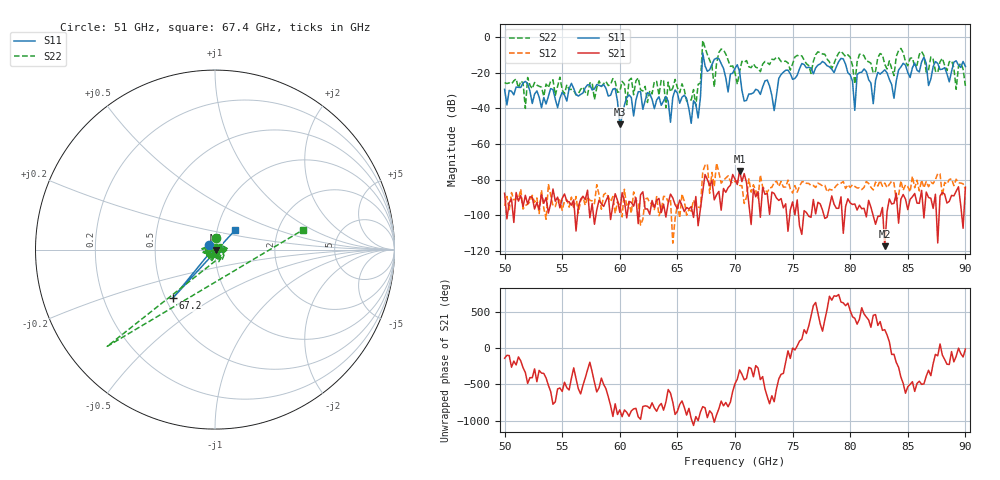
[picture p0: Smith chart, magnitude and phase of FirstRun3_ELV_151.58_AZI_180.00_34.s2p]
! 11/24/2026 3:42:01 PM
! C:\ANRITSUVNA\TEMP\TEMP.S2P
! CHANNEL.1
! TR.MEASUREMENT
! RAW.DATA
# HZ S RI R 50.0
! FREQ.HZ  S11RE  S11IM  S21RE  S21IM  S12RE  S12IM  S22RE  S22IM
!; PortSelection: Port_12
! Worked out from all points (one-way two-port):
!   201 points, 50 GHz to 90 GHz, reference 50 ohm
!   highest |S21| = -75.05 dB at 70.4 GHz (marker M1); lowest = -117.3 dB at 83 GHz (marker M2)
!   lowest |S11| = -49.0 dB at 60 GHz (marker M3), VSWR 1.01, Z = 50.3 - j0.162 ohm
!   |S11| at or under -10 dB: start of sweep to 67.19 GHz; 67.23 GHz to end of sweep
!   |S22| runs from -40.0 to -1.9 dB; largest |S21 - S12| = 0.00032
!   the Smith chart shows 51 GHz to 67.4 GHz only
!   S11 on the Smith chart (normalised r, x): 51 GHz: 0.94, +0.05; 67.2 GHz: 0.54, -0.34; 67.4 GHz: 1.22, +0.27
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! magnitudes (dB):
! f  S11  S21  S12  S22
! 50 GHz  -29.3  -87.6  -94.7  -25.6
! 51 GHz  -28.0  -87.2  -90.9  -23.4
! 56.8 GHz  -31.4  -89.3  -89.8  -28.1
! 59.6 GHz  -28.8  -87.9  -98.9  -25.0
! 60 GHz  -49.0  -98.3  -94.3  -30.6
! 63.4 GHz  -33.4  -90.5  -100.2  -32.6
! 66.8 GHz  -45.4  -105.9  -95.4  -26.5
! 67.2 GHz  -8.9  -86.9  -75.5  -1.9
! 67.4 GHz  -16.1  -77.1  -71.9  -5.9
! 68.2 GHz  -12.5  -91.3  -83.8  -28.0
! 68.8 GHz  -14.8  -97.1  -82.0  -6.7
! 70 GHz  -17.4  -79.7  -81.0  -19.9
! 70.4 GHz  -19.5  -75.1  -83.2  -19.3
! 73.4 GHz  -41.2  -87.7  -81.7  -12.7
! 76.8 GHz  -20.6  -91.1  -83.3  -13.6
! 79.4 GHz  -12.2  -110.1  -81.0  -9.4
! 80.4 GHz  -41.1  -93.6  -83.8  -26.2
! 80.6 GHz  -21.0  -97.0  -84.7  -14.0
! 82 GHz  -37.3  -100.3  -85.8  -20.2
! 83 GHz  -18.3  -117.3  -81.9  -15.2
! 83.4 GHz  -23.7  -90.8  -82.7  -13.3
! 90 GHz  -16.5  -84.2  -85.3  -27.3
